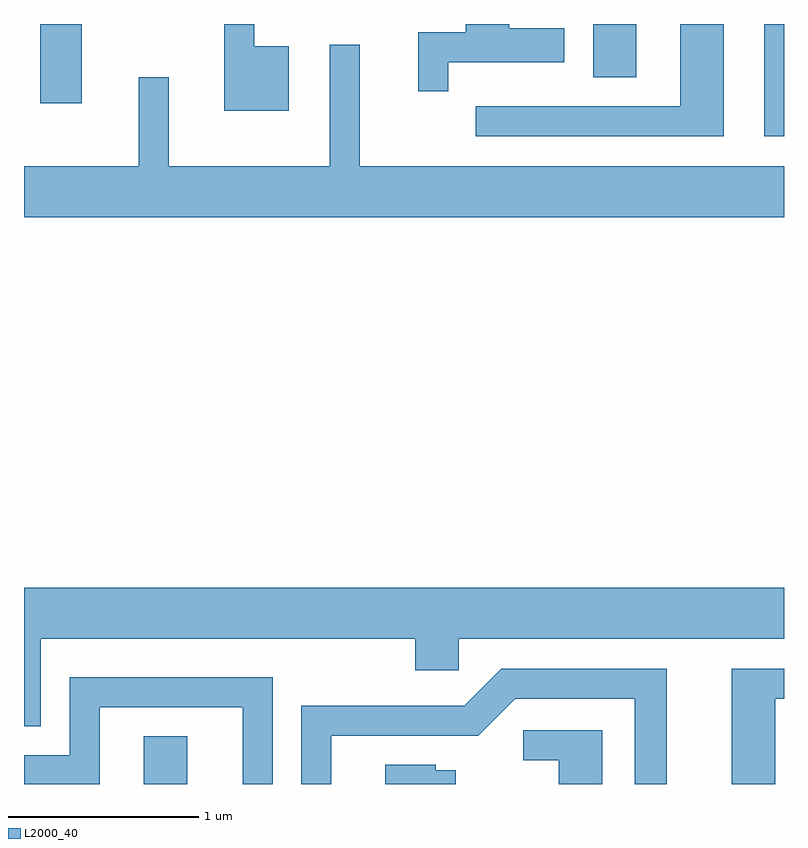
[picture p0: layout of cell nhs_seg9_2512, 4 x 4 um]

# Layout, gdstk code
import gdstk
lib = gdstk.Library(unit=1e-6, precision=1e-09)
def R(c, l, rs):  # rectangles x0, y0, x1, y1
    for r in rs: c.add(gdstk.rectangle(r[:2], r[2:], *l))
def P(c, l, *ps):  # polygons
    for p in ps: c.add(gdstk.Polygon(p, *l))
L2000_40 = (2000, 40)

nhs_seg9_2512 = lib.new_cell('nhs_seg9_2512')
R(nhs_seg9_2512, L2000_40, [(260.241,1944.432,260.469,1944.684), (263.506,1947.841,263.611,1948.432), (259.696,1948.016,259.914,1948.432), (262.606,1948.151,262.834,1948.432)])
P(nhs_seg9_2512, L2000_40, [(261.844,1948.231),(262.454,1948.231),(262.454,1948.409),(262.164,1948.409),(262.164,1948.432),(261.936,1948.432),(261.936,1948.389),(261.686,1948.389),(261.686,1948.078),(261.844,1948.078)],
  [(263.294,1948.432),(263.066,1948.432),(263.066,1947.999),(261.988,1947.999),(261.988,1947.841),(263.294,1947.841)],
  [(261.004,1948.314),(260.824,1948.314),(260.824,1948.432),(260.666,1948.432),(260.666,1947.976),(261.004,1947.976)],
  [(263.611,1947.684),(261.379,1947.684),(261.379,1948.323),(261.221,1948.323),(261.221,1947.684),(260.374,1947.684),(260.374,1948.153),(260.216,1948.153),(260.216,1947.684),(259.611,1947.684),(259.611,1947.416),(263.611,1947.416)],
  [(259.699,1945.196),(261.671,1945.196),(261.671,1945.031),(261.899,1945.031),(261.899,1945.196),(263.611,1945.196),(263.611,1945.464),(259.611,1945.464),(259.611,1944.736),(259.699,1944.736)],
  [(261.229,1944.686),(262.002,1944.686),(262.197,1944.881),(262.826,1944.881),(262.826,1944.432),(262.994,1944.432),(262.994,1945.039),(262.123,1945.039),(261.929,1944.844),(261.071,1944.844),(261.071,1944.432),(261.229,1944.432)],
  [(263.564,1944.881),(263.611,1944.881),(263.611,1945.039),(263.336,1945.039),(263.336,1944.432),(263.564,1944.432)],
  [(260.009,1944.836),(260.761,1944.836),(260.761,1944.432),(260.919,1944.432),(260.919,1944.994),(259.851,1944.994),(259.851,1944.584),(259.611,1944.584),(259.611,1944.432),(260.009,1944.432)],
  [(262.654,1944.714),(262.238,1944.714),(262.238,1944.556),(262.426,1944.556),(262.426,1944.432),(262.654,1944.432)],
  [(261.884,1944.504),(261.779,1944.504),(261.779,1944.534),(261.511,1944.534),(261.511,1944.432),(261.884,1944.432)])

lib.write_gds('nhs_seg9_2512.gds')
